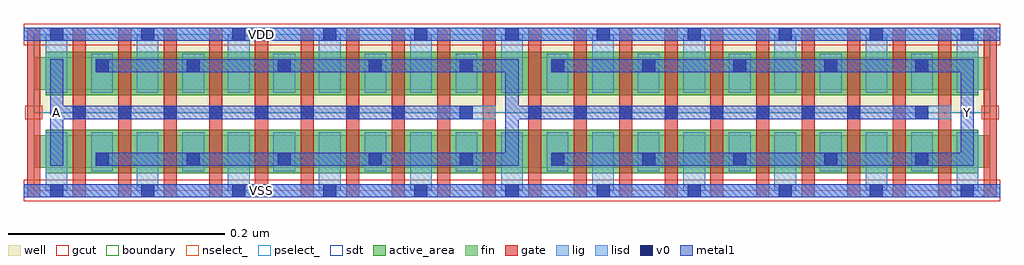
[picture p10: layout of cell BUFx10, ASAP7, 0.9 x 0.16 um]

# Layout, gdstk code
import gdstk
lib = gdstk.Library(unit=1e-6, precision=2.5e-10)
def R(c, l, rs):  # rectangles x0, y0, x1, y1
    for r in rs: c.add(gdstk.rectangle(r[:2], r[2:], *l))
def A(c, l, x, y, w, h, nx, ny, dx, dy):  # array of equal rectangles
    R(c, l, [(x+i*dx, y+j*dy, x+i*dx+w, y+j*dy+h) for i in range(nx) for j in range(ny)])
def P(c, l, *ps):  # polygons
    for p in ps: c.add(gdstk.Polygon(p, *l))
well = (1, 0)
fin = (2, 0)
gate = (7, 0)
gcut = (10, 0)
active_area = (11, 0)
nselect_ = (12, 0)
pselect_ = (13, 0)
lig = (16, 0)
lisd = (17, 0)
v0 = (18, 0)
metal1 = (19, 0)
sdt = (88, 0)
boundary = (100, 0)

bufx10 = lib.new_cell('BUFx10')
R(bufx10, well, [(0,0.072,0.882,0.144)])
R(bufx10, fin, [(0,0.021,0.882,0.051), (0,0.093,0.882,0.123)])
A(bufx10, gate, -0.006, -0.006, 0.012, 0.156, 22, 1, 0.042, 0)
R(bufx10, gcut, [(-0.009,-0.01,0.891,0.01), (-0.008,0.066,0.008,0.078), (0.874,0.066,0.89,0.078), (-0.009,0.134,0.891,0.154)])
R(bufx10, active_area, [(0.011,0.016,0.871,0.056), (0.011,0.088,0.871,0.128)])
R(bufx10, nselect_, [(0,0,0.882,0.072)])
R(bufx10, pselect_, [(0,0.072,0.882,0.144)])
A(bufx10, lig, 0.036, 0.066, 0.012, 0.012, 8, 1, 0.042, 0)
A(bufx10, lig, 0.456, 0.066, 0.012, 0.012, 8, 1, 0.042, 0)
R(bufx10, lig, [(-0.009,-0.006,0.891,0.006), (0.372,0.066,0.426,0.078), (0.792,0.066,0.846,0.078), (-0.009,0.138,0.891,0.15)])
A(bufx10, lisd, 0.011, 0, 0.02, 0.054, 11, 2, 0.084, 0.09)
A(bufx10, lisd, 0.053, 0.018, 0.02, 0.036, 10, 2, 0.084, 0.072)
A(bufx10, v0, 0.015, -0.006, 0.012, 0.012, 11, 2, 0.084, 0.144)
A(bufx10, v0, 0.057, 0.0227, 0.012, 0.012, 10, 2, 0.084, 0.0865)
A(bufx10, v0, 0.036, 0.066, 0.012, 0.012, 8, 1, 0.042, 0)
A(bufx10, v0, 0.456, 0.066, 0.012, 0.012, 8, 1, 0.042, 0)
R(bufx10, v0, [(0.393,0.066,0.405,0.078), (0.813,0.066,0.825,0.078)])
R(bufx10, metal1, [(-0.009,-0.006,0.891,0.006), (-0.009,0.138,0.891,0.15)])
P(bufx10, metal1, [(0.477,0.0348),(0.477,0.0227),(0.867,0.0227),(0.867,0.1212),(0.477,0.1212),(0.477,0.1092),(0.855,0.1092),(0.855,0.0348)],
  [(0.057,0.1092),(0.435,0.1092),(0.435,0.0348),(0.057,0.0348),(0.057,0.0227),(0.447,0.0227),(0.447,0.066),(0.825,0.066),(0.825,0.078),(0.447,0.078),(0.447,0.1212),(0.057,0.1212)],
  [(0.015,0.0227),(0.027,0.0227),(0.027,0.066),(0.405,0.066),(0.405,0.078),(0.027,0.078),(0.027,0.1212),(0.015,0.1212)])
A(bufx10, sdt, 0.011, 0.021, 0.02, 0.03, 21, 2, 0.042, 0.072)
R(bufx10, boundary, [(0,0,0.882,0.144)])
bufx10.add(gdstk.Label('A', (0.021,0.072), layer=19, texttype=251))
bufx10.add(gdstk.Label('VSS', (0.21,0), layer=19, texttype=251))
bufx10.add(gdstk.Label('VDD', (0.21,0.144), layer=19, texttype=251))
bufx10.add(gdstk.Label('Y', (0.861,0.072), layer=19, texttype=251))

lib.write_gds('BUFx10.gds')
